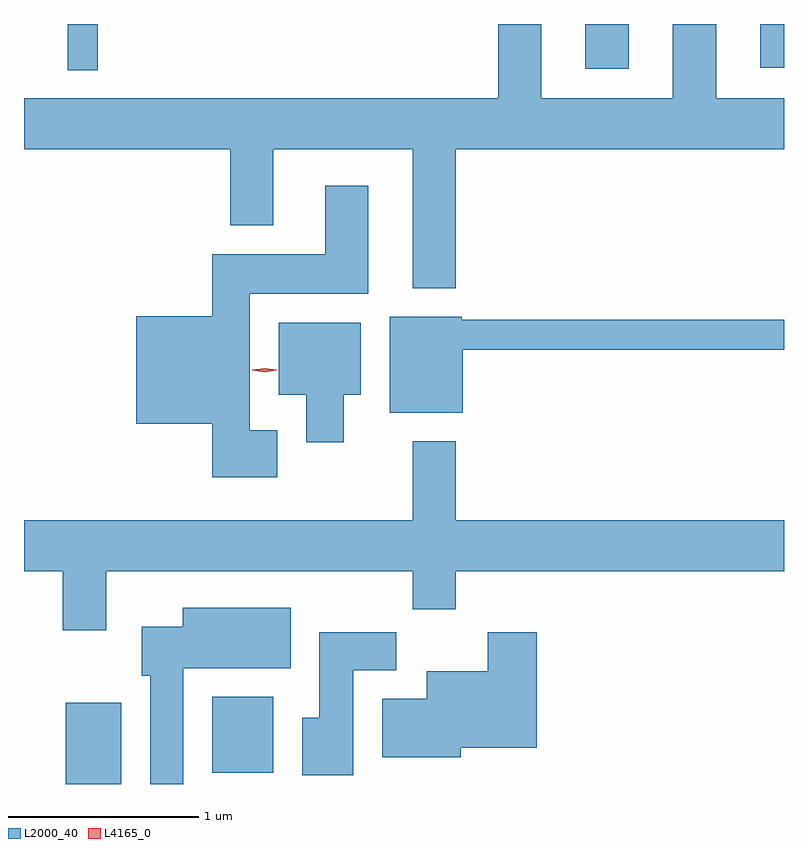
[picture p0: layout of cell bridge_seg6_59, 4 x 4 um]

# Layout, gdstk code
import gdstk
lib = gdstk.Library(unit=1e-6, precision=1e-09)
def R(c, l, rs):  # rectangles x0, y0, x1, y1
    for r in rs: c.add(gdstk.rectangle(r[:2], r[2:], *l))
def P(c, l, *ps):  # polygons
    for p in ps: c.add(gdstk.Polygon(p, *l))
L2000_40 = (2000, 40)
L4165_0 = (4165, 0)

bridge_seg6_59 = lib.new_cell('bridge_seg6_59')
R(bridge_seg6_59, L2000_40, [(1601.656,1591.096,1601.949,1591.524), (1602.426,1591.156,1602.749,1591.554), (1601.666,1594.853,1601.824,1595.096), (1604.391,1594.861,1604.619,1595.096), (1605.311,1594.866,1605.436,1595.096)])
P(bridge_seg6_59, L2000_40, [(1603.709,1594.436),(1605.436,1594.436),(1605.436,1594.704),(1605.079,1594.704),(1605.079,1595.096),(1604.851,1595.096),(1604.851,1594.704),(1604.159,1594.704),(1604.159,1595.096),(1603.931,1595.096),(1603.931,1594.704),(1601.436,1594.704),(1601.436,1594.436),(1602.521,1594.436),(1602.521,1594.036),(1602.749,1594.036),(1602.749,1594.436),(1603.481,1594.436),(1603.481,1593.706),(1603.709,1593.706)],
  [(1602.769,1592.959),(1602.624,1592.959),(1602.624,1593.676),(1603.249,1593.676),(1603.249,1594.244),(1603.021,1594.244),(1603.021,1593.884),(1602.426,1593.884),(1602.426,1593.559),(1602.026,1593.559),(1602.026,1592.991),(1602.426,1592.991),(1602.426,1592.711),(1602.769,1592.711)],
  [(1603.744,1593.381),(1605.436,1593.381),(1605.436,1593.539),(1603.74,1593.539),(1603.74,1593.554),(1603.361,1593.554),(1603.361,1593.051),(1603.744,1593.051)],
  [(1603.119,1593.146),(1603.209,1593.146),(1603.209,1593.524),(1602.776,1593.524),(1602.776,1593.146),(1602.921,1593.146),(1602.921,1592.896),(1603.119,1592.896)],
  [(1601.869,1592.216),(1603.481,1592.216),(1603.481,1592.016),(1603.709,1592.016),(1603.709,1592.216),(1605.436,1592.216),(1605.436,1592.484),(1603.709,1592.484),(1603.709,1592.899),(1603.481,1592.899),(1603.481,1592.484),(1601.436,1592.484),(1601.436,1592.216),(1601.641,1592.216),(1601.641,1591.906),(1601.869,1591.906)],
  [(1602.274,1591.706),(1602.839,1591.706),(1602.839,1592.024),(1602.271,1592.024),(1602.271,1591.924),(1602.056,1591.924),(1602.056,1591.666),(1602.101,1591.666),(1602.101,1591.096),(1602.274,1591.096)],
  [(1603.169,1591.696),(1603.394,1591.696),(1603.394,1591.894),(1602.991,1591.894),(1602.991,1591.444),(1602.901,1591.444),(1602.901,1591.141),(1603.169,1591.141)],
  [(1603.734,1591.286),(1604.134,1591.286),(1604.134,1591.894),(1603.876,1591.894),(1603.876,1591.689),(1603.556,1591.689),(1603.556,1591.544),(1603.321,1591.544),(1603.321,1591.236),(1603.734,1591.236)])
P(bridge_seg6_59, L4165_0, [(1602.702,1593.264),(1602.636,1593.274),(1602.636,1593.274),(1602.636,1593.275),(1602.702,1593.284),(1602.767,1593.275),(1602.768,1593.274),(1602.767,1593.274)])

lib.write_gds('bridge_seg6_59.gds')
